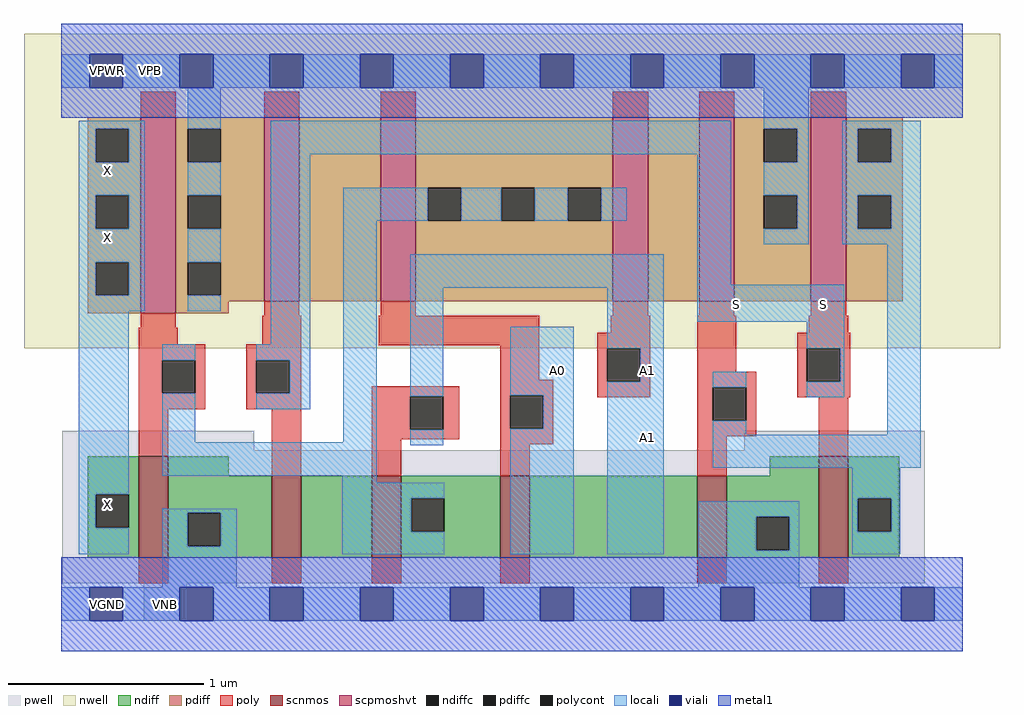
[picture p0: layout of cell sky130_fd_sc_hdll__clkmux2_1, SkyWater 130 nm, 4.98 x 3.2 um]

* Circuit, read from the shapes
.subckt sky130_fd_sc_hdll__clkmux2_1 A0 A1 S VGND VNB VPB VPWR X
XM1 VGND n1 X VNB sky130_fd_pr__nfet_01v8 w=0.52 l=0.15
XM2 n2 S VGND VNB sky130_fd_pr__nfet_01v8 w=0.42 l=0.15
XM3 n1 A1 n2 VNB sky130_fd_pr__nfet_01v8 w=0.42 l=0.15
XM4 n3 A0 n1 VNB sky130_fd_pr__nfet_01v8 w=0.42 l=0.15
XM5 VGND n4 n3 VNB sky130_fd_pr__nfet_01v8 w=0.42 l=0.15
XM6 n4 S VGND VNB sky130_fd_pr__nfet_01v8 w=0.52 l=0.15
XM7 VPWR n1 X VPB sky130_fd_pr__pfet_01v8_hvt w=1 l=0.18
XM8 n5 S VPWR VPB sky130_fd_pr__pfet_01v8_hvt w=0.94 l=0.18
XM9 n1 A0 n5 VPB sky130_fd_pr__pfet_01v8_hvt w=0.94 l=0.18
XM10 n6 A1 n1 VPB sky130_fd_pr__pfet_01v8_hvt w=0.94 l=0.18
XM11 VPWR n4 n6 VPB sky130_fd_pr__pfet_01v8_hvt w=0.94 l=0.18
XM12 n4 S VPWR VPB sky130_fd_pr__pfet_01v8_hvt w=0.94 l=0.18
.ends

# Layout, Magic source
magic
tech sky130A
magscale 1 2
<< nwell >>
rect -38 261 958 582
<< pwell >>
rect 1 157 197 177
rect 697 157 881 177
rect 1 21 881 157
rect 84 -17 128 21
<< scnmos >>
rect 79 47 109 151
rect 215 47 245 131
rect 317 47 347 131
rect 448 47 478 131
rect 649 47 679 131
rect 773 47 803 151
<< scpmoshvt >>
rect 81 297 117 497
rect 207 309 243 497
rect 326 309 362 497
rect 563 309 599 497
rect 651 309 687 497
rect 765 309 801 497
<< ndiff >>
rect 27 112 79 151
rect 27 78 35 112
rect 69 78 79 112
rect 27 47 79 78
rect 109 131 171 151
rect 723 131 773 151
rect 109 93 215 131
rect 109 59 129 93
rect 163 59 215 93
rect 109 47 215 59
rect 245 47 317 131
rect 347 108 448 131
rect 347 74 357 108
rect 391 74 448 108
rect 347 47 448 74
rect 478 47 649 131
rect 679 89 773 131
rect 679 55 709 89
rect 743 55 773 89
rect 679 47 773 55
rect 803 108 855 151
rect 803 74 813 108
rect 847 74 855 108
rect 803 47 855 74
<< pdiff >>
rect 27 485 81 497
rect 27 451 35 485
rect 69 451 81 485
rect 27 417 81 451
rect 27 383 35 417
rect 69 383 81 417
rect 27 349 81 383
rect 27 315 35 349
rect 69 315 81 349
rect 27 297 81 315
rect 117 485 207 497
rect 117 451 129 485
rect 163 451 207 485
rect 117 417 207 451
rect 117 383 129 417
rect 163 383 207 417
rect 117 349 207 383
rect 117 315 129 349
rect 163 315 207 349
rect 117 309 207 315
rect 243 309 326 497
rect 362 425 563 497
rect 362 391 374 425
rect 408 391 449 425
rect 483 391 517 425
rect 551 391 563 425
rect 362 309 563 391
rect 599 309 651 497
rect 687 485 765 497
rect 687 451 717 485
rect 751 451 765 485
rect 687 417 765 451
rect 687 383 717 417
rect 751 383 765 417
rect 687 309 765 383
rect 801 485 859 497
rect 801 451 813 485
rect 847 451 859 485
rect 801 417 859 451
rect 801 383 813 417
rect 847 383 859 417
rect 801 309 859 383
rect 117 297 171 309
<< ndiffc >>
rect 35 78 69 112
rect 129 59 163 93
rect 357 74 391 108
rect 709 55 743 89
rect 813 74 847 108
<< pdiffc >>
rect 35 451 69 485
rect 35 383 69 417
rect 35 315 69 349
rect 129 451 163 485
rect 129 383 163 417
rect 129 315 163 349
rect 374 391 408 425
rect 449 391 483 425
rect 517 391 551 425
rect 717 451 751 485
rect 717 383 751 417
rect 813 451 847 485
rect 813 383 847 417
<< poly >>
rect 81 497 117 523
rect 207 497 243 523
rect 326 497 362 523
rect 563 497 599 523
rect 651 497 687 523
rect 765 497 801 523
rect 81 282 117 297
rect 207 294 243 309
rect 326 294 362 309
rect 563 294 599 309
rect 651 294 687 309
rect 765 294 801 309
rect 79 265 119 282
rect 205 265 245 294
rect 79 249 147 265
rect 79 215 103 249
rect 137 215 147 249
rect 79 199 147 215
rect 189 249 245 265
rect 324 264 488 294
rect 561 277 601 294
rect 189 215 199 249
rect 233 215 245 249
rect 448 229 488 264
rect 547 261 601 277
rect 189 199 245 215
rect 79 151 109 199
rect 215 131 245 199
rect 317 212 406 222
rect 317 178 356 212
rect 390 178 406 212
rect 317 168 406 178
rect 448 213 502 229
rect 448 179 458 213
rect 492 179 502 213
rect 547 227 557 261
rect 591 227 601 261
rect 547 211 601 227
rect 649 237 689 294
rect 763 277 803 294
rect 751 261 805 277
rect 649 221 709 237
rect 317 131 347 168
rect 448 163 502 179
rect 649 187 665 221
rect 699 187 709 221
rect 751 227 761 261
rect 795 227 805 261
rect 751 211 805 227
rect 649 171 709 187
rect 448 131 478 163
rect 649 131 679 171
rect 773 151 803 211
rect 79 21 109 47
rect 215 21 245 47
rect 317 21 347 47
rect 448 21 478 47
rect 649 21 679 47
rect 773 21 803 47
<< polycont >>
rect 103 215 137 249
rect 199 215 233 249
rect 356 178 390 212
rect 458 179 492 213
rect 557 227 591 261
rect 665 187 699 221
rect 761 227 795 261
<< locali >>
rect 0 527 29 561
rect 63 527 121 561
rect 155 527 213 561
rect 247 527 305 561
rect 339 527 397 561
rect 431 527 489 561
rect 523 527 581 561
rect 615 527 673 561
rect 707 527 765 561
rect 799 527 857 561
rect 891 527 920 561
rect 18 485 85 493
rect 18 451 35 485
rect 69 451 85 485
rect 18 417 85 451
rect 18 383 35 417
rect 69 383 85 417
rect 18 349 85 383
rect 18 315 35 349
rect 69 315 85 349
rect 18 299 85 315
rect 129 485 163 527
rect 129 417 163 451
rect 129 349 163 383
rect 129 299 163 315
rect 214 459 683 493
rect 18 112 69 299
rect 214 265 254 459
rect 103 249 137 265
rect 103 165 137 215
rect 199 249 254 265
rect 233 215 254 249
rect 199 199 254 215
rect 288 391 374 425
rect 408 391 449 425
rect 483 391 517 425
rect 551 391 577 425
rect 288 165 322 391
rect 103 131 322 165
rect 356 323 615 357
rect 356 212 390 323
rect 356 162 390 178
rect 458 213 523 283
rect 492 179 523 213
rect 18 78 35 112
rect 287 124 322 131
rect 287 108 391 124
rect 18 51 69 78
rect 103 93 179 97
rect 103 59 129 93
rect 163 59 179 93
rect 103 17 179 59
rect 287 74 357 108
rect 287 51 391 74
rect 458 51 523 179
rect 557 261 615 323
rect 649 326 683 459
rect 717 485 763 527
rect 751 451 763 485
rect 717 417 763 451
rect 751 383 763 417
rect 717 367 763 383
rect 797 485 877 493
rect 797 451 813 485
rect 847 451 877 485
rect 797 417 877 451
rect 797 383 813 417
rect 847 383 877 417
rect 797 367 877 383
rect 649 288 799 326
rect 591 227 615 261
rect 761 261 799 288
rect 557 51 615 227
rect 665 221 699 237
rect 795 227 799 261
rect 761 211 799 227
rect 665 173 699 187
rect 843 173 877 367
rect 665 139 877 173
rect 807 108 856 139
rect 650 89 753 105
rect 650 55 709 89
rect 743 55 753 89
rect 650 17 753 55
rect 807 74 813 108
rect 847 74 856 108
rect 807 51 856 74
rect 0 -17 29 17
rect 63 -17 121 17
rect 155 -17 213 17
rect 247 -17 305 17
rect 339 -17 397 17
rect 431 -17 489 17
rect 523 -17 581 17
rect 615 -17 673 17
rect 707 -17 765 17
rect 799 -17 857 17
rect 891 -17 920 17
<< viali >>
rect 29 527 63 561
rect 121 527 155 561
rect 213 527 247 561
rect 305 527 339 561
rect 397 527 431 561
rect 489 527 523 561
rect 581 527 615 561
rect 673 527 707 561
rect 765 527 799 561
rect 857 527 891 561
rect 29 -17 63 17
rect 121 -17 155 17
rect 213 -17 247 17
rect 305 -17 339 17
rect 397 -17 431 17
rect 489 -17 523 17
rect 581 -17 615 17
rect 673 -17 707 17
rect 765 -17 799 17
rect 857 -17 891 17
<< metal1 >>
rect 0 561 920 592
rect 0 527 29 561
rect 63 527 121 561
rect 155 527 213 561
rect 247 527 305 561
rect 339 527 397 561
rect 431 527 489 561
rect 523 527 581 561
rect 615 527 673 561
rect 707 527 765 561
rect 799 527 857 561
rect 891 527 920 561
rect 0 496 920 527
rect 0 17 920 48
rect 0 -17 29 17
rect 63 -17 121 17
rect 155 -17 213 17
rect 247 -17 305 17
rect 339 -17 397 17
rect 431 -17 489 17
rect 523 -17 581 17
rect 615 -17 673 17
rect 707 -17 765 17
rect 799 -17 857 17
rect 891 -17 920 17
rect 0 -48 920 -17
<< labels >>
flabel metal1 s 30 -17 64 17 0 FreeSans 200 0 0 0 VGND
port 4 nsew ground bidirectional
flabel metal1 s 30 527 64 561 0 FreeSans 200 0 0 0 VPWR
port 7 nsew power bidirectional
flabel locali s 672 289 706 323 0 FreeSans 250 0 0 0 S
port 3 nsew signal input
flabel locali s 581 153 615 187 0 FreeSans 250 0 0 0 A1
port 2 nsew signal input
flabel locali s 581 221 615 255 0 FreeSans 250 0 0 0 A1
port 2 nsew signal input
flabel locali s 489 221 523 255 0 FreeSans 250 0 0 0 A0
port 1 nsew signal input
flabel locali s 30 85 64 119 0 FreeSans 250 0 0 0 X
port 8 nsew signal output
flabel locali s 30 357 64 391 0 FreeSans 250 0 0 0 X
port 8 nsew signal output
flabel locali s 30 425 64 459 0 FreeSans 250 0 0 0 X
port 8 nsew signal output
flabel locali s 761 289 795 323 0 FreeSans 250 0 0 0 S
port 3 nsew signal input
flabel nwell s 74 527 108 561 0 FreeSans 250 0 0 0 VPB
port 6 nsew power bidirectional
flabel pwell s 84 -17 128 17 0 FreeSans 250 0 0 0 VNB
port 5 nsew ground bidirectional
rlabel comment s 0 0 0 0 4 clkmux2_1
<< properties >>
string LEFsite unithd
string LEFclass CORE
string FIXED_BBOX 0 0 920 544
string GDS_FILE $PDKPATH/libs.ref/sky130_fd_sc_hdll/gds/sky130_fd_sc_hdll.gds
string LEFsymmetry X Y R90
string GDS_END 1283246
string GDS_START 1276046
string LEFproperties maskLayoutSubType "abstract" prCellType "standard" originalViewName "layout"
<< end >>
